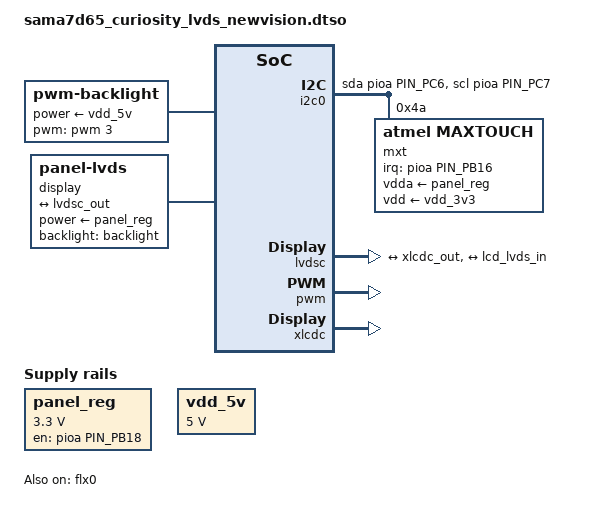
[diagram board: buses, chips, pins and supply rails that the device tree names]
// SPDX-License-Identifier: (GPL-2.0+ OR MIT)
/*
 *  Device Tree overlay for sama7d65-curiosity board in order to use
 *  10.1inch new vision lvds display panel
 *
 *  Copyright (c) 2025 Microchip Technology Inc. and its subsidiaries
 *
 *  Author: Sandeep Sheriker M <sandeep.sheriker@microchip.com>
 *
 */
/dts-v1/;
/plugin/;
#include <dt-bindings/clock/at91.h>
#include <dt-bindings/gpio/gpio.h>
#include <dt-bindings/mfd/atmel-flexcom.h>
#include <dt-bindings/pinctrl/at91.h>
#include "sama7d65-pinfunc.h"

&{/}
{
	model = "Microchip SAMA7D65 Curiosity LVDS";

	backlight: backlight {
		compatible = "pwm-backlight";
		pwms = <&pwm 3 1000000 0>;
		brightness-levels = <0 4 8 16 32 64 128 255>;
		default-brightness-level = <7>;
		power-supply = <&vdd_5v>;
	};

	display {
		compatible = "panel-lvds";
		power-supply = <&panel_reg>;
		backlight = <&backlight>;
		width-mm = <216>;
		height-mm = <135>;
		data-mapping = "vesa-24";

		panel-timing {
			clock-frequency = <65000000>;
			hactive = <1280>;
			vactive = <800>;
			hfront-porch = <48>;
			hback-porch = <80>;
			hsync-len = <32>;
			vfront-porch = <8>;
			vback-porch = <16>;
			vsync-len = <8>;
		};


		port {
			lcd_lvds_in: endpoint {
				remote-endpoint = <&lvdsc_out>;
			};
		};
	};

	panel_reg: mic23150-regulator {
		compatible = "regulator-fixed";
		regulator-name = "panel-power-supply";
		regulator-min-microvolt = <3300000>;
		regulator-max-microvolt = <3300000>;
		gpios = <&pioa PIN_PB18 GPIO_ACTIVE_HIGH>;
		enable-active-high;
		regulator-always-on;
	};

	vdd_5v: fixed-regulator-vdd-5v {
		compatible = "regulator-fixed";
		regulator-name = "VDD_5V";
		regulator-min-microvolt = <5000000>;
		regulator-max-microvolt = <5000000>;
		regulator-always-on;
	};

};

&flx0 {
	atmel,flexcom-mode = <ATMEL_FLEXCOM_MODE_TWI>;
	status = "okay";
};

&i2c0 {
	#address-cells = <1>;
	#size-cells = <0>;
	pinctrl-names = "default", "gpio";
	pinctrl-0 = <&pinctrl_i2c0_default>;
	pinctrl-1 = <&pinctrl_i2c0_gpio>;
	sda-gpios = <&pioa PIN_PC6 GPIO_ACTIVE_HIGH>;
	scl-gpios = <&pioa PIN_PC7 (GPIO_ACTIVE_HIGH | GPIO_OPEN_DRAIN)>;
	i2c-analog-filter;
	i2c-digital-filter;
	i2c-digital-filter-width-ns = <35>;
	status = "okay";

	mxt: atmel-mxt-ts@4a {
		compatible = "atmel,maxtouch";
		reg = <0x4a>;
		interrupt-parent = <&pioa>;
		interrupts = <PIN_PB16 0x0>;
		pinctrl-names = "default";
		pinctrl-0 = <&pinctrl_mxt_irq>;
		vdda-supply = <&panel_reg>;
		vdd-supply = <&vdd_3v3>;
	};
};

&lvdsc {
	#address-cells = <1>;
	#size-cells = <0>;
	status = "okay";

	port@0 {
		reg = <0>;

		lvdsc_in: endpoint {
			remote-endpoint = <&xlcdc_out>;
		};
	};

	port@1 {
		reg = <1>;

		lvdsc_out: endpoint {
			remote-endpoint = <&lcd_lvds_in>;
		};
	};
};

&pioa {
	pinctrl_i2c0_default: i2c0-default {
		pinmux = <PIN_PC7__FLEXCOM0_IO0>,
			<PIN_PC6__FLEXCOM0_IO1>;
		bias-pull-up;
	};

	pinctrl_i2c0_gpio: i2c0-gpio{
		pinmux = <PIN_PC7__GPIO>,
			 <PIN_PC6__GPIO>;
		bias-disable;
	};

	pinctrl_lcd_pwm: lcd-pwm {
		pinmux = <PIN_PB14__PWMH3>;
		bias-disable;
	};

	pinctrl_mxt_irq: pinctrl-mxt-irq {
		pinmux = <PIN_PB16__GPIO>;
		bias-pull-up;
		input-debounce = <1>;
	};
};

&pwm {
	pinctrl-names = "default";
	pinctrl-0 = <&pinctrl_lcd_pwm>;
	status = "okay";
};

&xlcdc {
	clocks = <&pmc PMC_TYPE_PERIPHERAL 56>, <&pmc PMC_TYPE_CORE PMC_LVDSPLL>, <&clk32k 1>;
	clock-names = "periph_clk", "lvds_pll_clk", "slow_clk";
	assigned-clocks = <&pmc PMC_TYPE_CORE PMC_MCK3>;
	assigned-clock-rates = <266500000>;
	status = "okay";

	hlcdc-display-controller {
		port@0 {
			#address-cells = <1>;
			#size-cells = <0>;

			xlcdc_out: endpoint@0 {
				reg = <0>;
				remote-endpoint = <&lvdsc_in>;
			};
		};
	};
};
